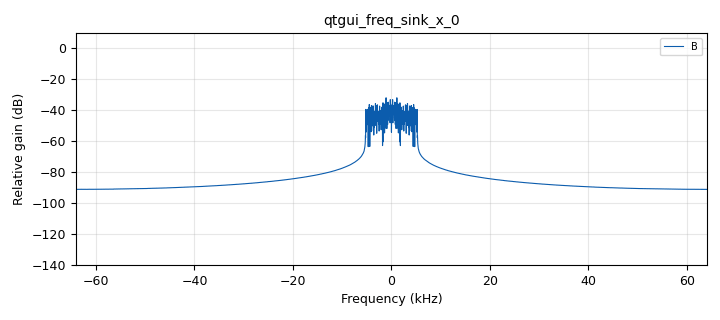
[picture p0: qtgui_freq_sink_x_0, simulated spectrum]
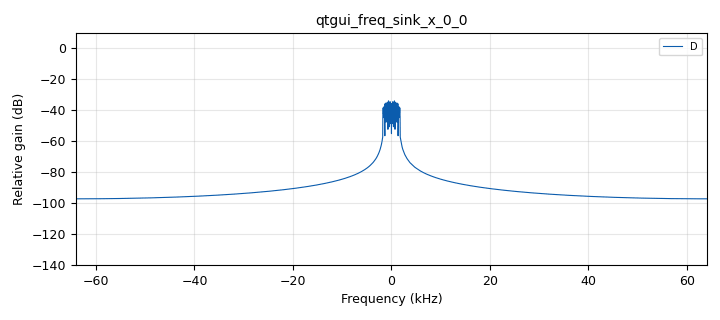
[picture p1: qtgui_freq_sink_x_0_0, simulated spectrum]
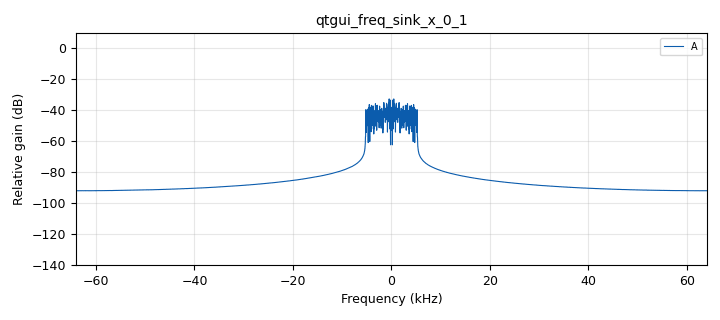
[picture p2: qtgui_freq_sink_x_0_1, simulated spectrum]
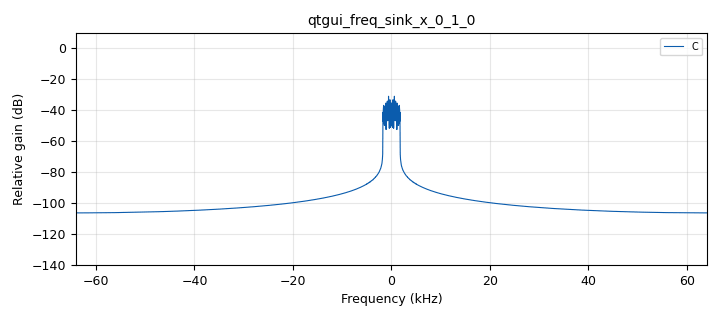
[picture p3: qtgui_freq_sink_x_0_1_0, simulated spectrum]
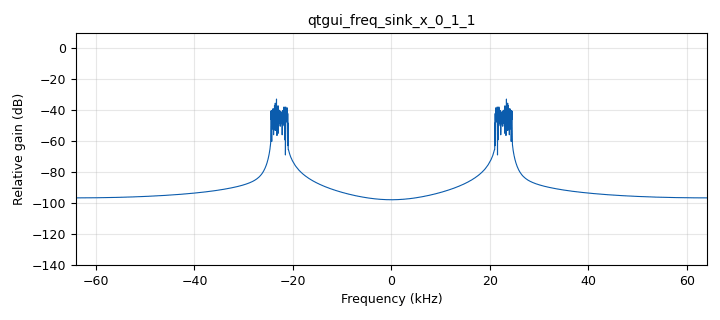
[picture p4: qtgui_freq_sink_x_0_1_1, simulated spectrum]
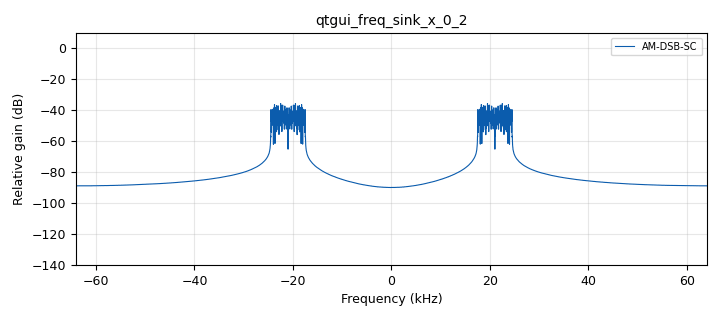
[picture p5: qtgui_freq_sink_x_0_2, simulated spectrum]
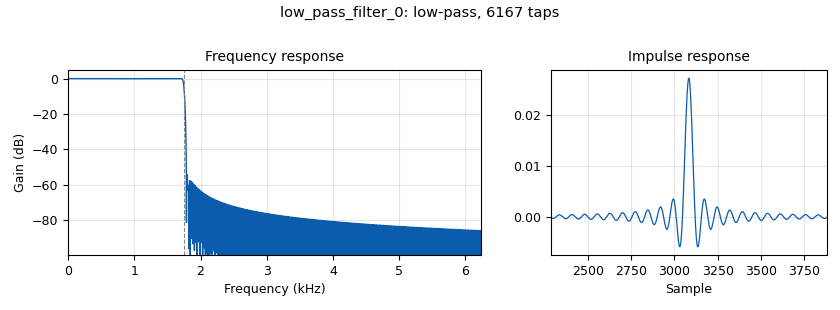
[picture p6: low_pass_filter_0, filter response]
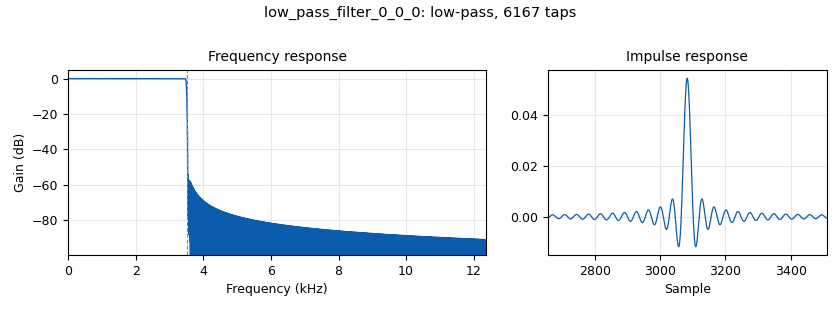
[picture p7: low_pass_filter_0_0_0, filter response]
<?xml version='1.0' encoding='utf-8'?>
<?grc format='1' created='3.7.9'?>
<flow_graph>
<block>
<key>options</key>
<param><key>id</key><value>top_block</value></param>
<param><key>category</key><value>Custom</value></param>
<param><key>generate_options</key><value>qt_gui</value></param>
</block>
<block>
<key>variable</key>
<param><key>id</key><value>Bm</value></param>
<param><key>value</key><value>3500</value></param>
</block>
<block>
<key>variable</key>
<param><key>id</key><value>f_c</value></param>
<param><key>value</key><value>21000</value></param>
</block>
<block>
<key>variable</key>
<param><key>id</key><value>samp_rate</value></param>
<param><key>value</key><value>128000</value></param>
</block>
<block>
<key>qtgui_tab_widget</key>
<param><key>id</key><value>aba</value></param>
<param><key>label0</key><value>A</value></param>
<param><key>label1</key><value>B</value></param>
<param><key>label2</key><value>C</value></param>
<param><key>label3</key><value>D</value></param>
<param><key>label4</key><value>E</value></param>
<param><key>label5</key><value>AM-DSB-SC</value></param>
<param><key>num_tabs</key><value>6</value></param>
</block>
<block>
<key>analog_noise_source_x</key>
<param><key>id</key><value>analog_noise_source_x_0</value></param>
<param><key>amp</key><value>1</value></param>
<param><key>noise_type</key><value>analog.GR_GAUSSIAN</value></param>
<param><key>type</key><value>float</value></param>
<param><key>seed</key><value>0</value></param>
</block>
<block>
<key>analog_sig_source_x</key>
<param><key>id</key><value>analog_sig_source_x_0</value></param>
<param><key>amp</key><value>1</value></param>
<param><key>freq</key><value>Bm/2</value></param>
<param><key>offset</key><value>0</value></param>
<param><key>type</key><value>float</value></param>
<param><key>samp_rate</key><value>samp_rate</value></param>
<param><key>waveform</key><value>analog.GR_COS_WAVE</value></param>
</block>
<block>
<key>analog_sig_source_x</key>
<param><key>id</key><value>analog_sig_source_x_0_0</value></param>
<param><key>amp</key><value>1</value></param>
<param><key>freq</key><value>f_c + Bm/2</value></param>
<param><key>offset</key><value>0</value></param>
<param><key>type</key><value>float</value></param>
<param><key>samp_rate</key><value>samp_rate</value></param>
<param><key>waveform</key><value>analog.GR_COS_WAVE</value></param>
</block>
<block>
<key>analog_sig_source_x</key>
<param><key>id</key><value>analog_sig_source_x_0_0_0</value></param>
<param><key>amp</key><value>1</value></param>
<param><key>freq</key><value>f_c </value></param>
<param><key>offset</key><value>0</value></param>
<param><key>type</key><value>float</value></param>
<param><key>samp_rate</key><value>samp_rate</value></param>
<param><key>waveform</key><value>analog.GR_COS_WAVE</value></param>
</block>
<block>
<key>blocks_add_xx</key>
<param><key>id</key><value>blocks_add_xx_0</value></param>
<param><key>type</key><value>float</value></param>
</block>
<block>
<key>blocks_delay</key>
<param><key>id</key><value>blocks_delay_0</value></param>
<param><key>delay</key><value>55</value></param>
<param><key>type</key><value>float</value></param>
</block>
<block>
<key>blocks_delay</key>
<param><key>id</key><value>blocks_delay_0_0</value></param>
<param><key>delay</key><value>55</value></param>
<param><key>type</key><value>float</value></param>
</block>
<block>
<key>blocks_multiply_xx</key>
<param><key>id</key><value>blocks_multiply_xx_0</value></param>
<param><key>type</key><value>float</value></param>
</block>
<block>
<key>blocks_multiply_xx</key>
<param><key>id</key><value>blocks_multiply_xx_0_0</value></param>
<param><key>type</key><value>float</value></param>
</block>
<block>
<key>blocks_multiply_xx</key>
<param><key>id</key><value>blocks_multiply_xx_0_0_0</value></param>
<param><key>type</key><value>float</value></param>
</block>
<block>
<key>blocks_multiply_xx</key>
<param><key>id</key><value>blocks_multiply_xx_0_1</value></param>
<param><key>type</key><value>float</value></param>
</block>
<block>
<key>blocks_multiply_xx</key>
<param><key>id</key><value>blocks_multiply_xx_0_1_0</value></param>
<param><key>type</key><value>float</value></param>
</block>
<block>
<key>low_pass_filter</key>
<param><key>id</key><value>low_pass_filter_0</value></param>
<param><key>cutoff_freq</key><value>Bm/2</value></param>
<param><key>decim</key><value>1</value></param>
<param><key>type</key><value>fir_filter_fff</value></param>
<param><key>gain</key><value>1</value></param>
<param><key>samp_rate</key><value>samp_rate</value></param>
<param><key>width</key><value>50</value></param>
<param><key>win</key><value>firdes.WIN_HAMMING</value></param>
</block>
<block>
<key>low_pass_filter</key>
<param><key>id</key><value>low_pass_filter_0_0</value></param>
<param><key>cutoff_freq</key><value>Bm/2</value></param>
<param><key>decim</key><value>1</value></param>
<param><key>type</key><value>fir_filter_fff</value></param>
<param><key>gain</key><value>1</value></param>
<param><key>samp_rate</key><value>samp_rate</value></param>
<param><key>width</key><value>50</value></param>
<param><key>win</key><value>firdes.WIN_HAMMING</value></param>
</block>
<block>
<key>low_pass_filter</key>
<param><key>id</key><value>low_pass_filter_0_0_0</value></param>
<param><key>cutoff_freq</key><value>Bm</value></param>
<param><key>decim</key><value>1</value></param>
<param><key>type</key><value>fir_filter_fff</value></param>
<param><key>gain</key><value>1</value></param>
<param><key>samp_rate</key><value>samp_rate</value></param>
<param><key>width</key><value>50</value></param>
<param><key>win</key><value>firdes.WIN_HAMMING</value></param>
</block>
<block>
<key>qtgui_freq_sink_x</key>
<param><key>id</key><value>qtgui_freq_sink_x_0</value></param>
<param><key>bw</key><value>samp_rate</value></param>
<param><key>fc</key><value>0</value></param>
<param><key>ctrlpanel</key><value>True</value></param>
<param><key>fftsize</key><value>4096</value></param>
<param><key>gui_hint</key><value>aba@1</value></param>
<param><key>grid</key><value>True</value></param>
<param><key>color1</key><value>"red"</value></param>
<param><key>label1</key><value>B</value></param>
<param><key>showports</key><value>True</value></param>
<param><key>type</key><value>float</value></param>
<param><key>wintype</key><value>firdes.WIN_RECTANGULAR</value></param>
</block>
<block>
<key>qtgui_freq_sink_x</key>
<param><key>id</key><value>qtgui_freq_sink_x_0_0</value></param>
<param><key>bw</key><value>samp_rate</value></param>
<param><key>fc</key><value>0</value></param>
<param><key>ctrlpanel</key><value>True</value></param>
<param><key>fftsize</key><value>4096</value></param>
<param><key>gui_hint</key><value>aba@3</value></param>
<param><key>grid</key><value>True</value></param>
<param><key>color1</key><value>"red"</value></param>
<param><key>label1</key><value>D</value></param>
<param><key>showports</key><value>True</value></param>
<param><key>type</key><value>float</value></param>
<param><key>wintype</key><value>firdes.WIN_RECTANGULAR</value></param>
</block>
<block>
<key>qtgui_freq_sink_x</key>
<param><key>id</key><value>qtgui_freq_sink_x_0_1</value></param>
<param><key>bw</key><value>samp_rate</value></param>
<param><key>fc</key><value>0</value></param>
<param><key>ctrlpanel</key><value>True</value></param>
<param><key>fftsize</key><value>4096</value></param>
<param><key>gui_hint</key><value>aba@0</value></param>
<param><key>grid</key><value>True</value></param>
<param><key>color1</key><value>"dark blue"</value></param>
<param><key>label1</key><value>A</value></param>
<param><key>showports</key><value>True</value></param>
<param><key>type</key><value>float</value></param>
<param><key>wintype</key><value>firdes.WIN_RECTANGULAR</value></param>
</block>
<block>
<key>qtgui_freq_sink_x</key>
<param><key>id</key><value>qtgui_freq_sink_x_0_1_0</value></param>
<param><key>bw</key><value>samp_rate</value></param>
<param><key>fc</key><value>0</value></param>
<param><key>ctrlpanel</key><value>True</value></param>
<param><key>fftsize</key><value>4096</value></param>
<param><key>gui_hint</key><value>aba@2</value></param>
<param><key>grid</key><value>True</value></param>
<param><key>color1</key><value>"dark blue"</value></param>
<param><key>label1</key><value>C</value></param>
<param><key>showports</key><value>True</value></param>
<param><key>type</key><value>float</value></param>
<param><key>wintype</key><value>firdes.WIN_RECTANGULAR</value></param>
</block>
<block>
<key>qtgui_freq_sink_x</key>
<param><key>id</key><value>qtgui_freq_sink_x_0_1_1</value></param>
<param><key>bw</key><value>samp_rate</value></param>
<param><key>fc</key><value>0</value></param>
<param><key>ctrlpanel</key><value>True</value></param>
<param><key>fftsize</key><value>4096</value></param>
<param><key>gui_hint</key><value>aba@4</value></param>
<param><key>grid</key><value>True</value></param>
<param><key>color1</key><value>"green"</value></param>
<param><key>showports</key><value>True</value></param>
<param><key>type</key><value>float</value></param>
<param><key>wintype</key><value>firdes.WIN_RECTANGULAR</value></param>
</block>
<block>
<key>qtgui_freq_sink_x</key>
<param><key>id</key><value>qtgui_freq_sink_x_0_2</value></param>
<param><key>bw</key><value>samp_rate</value></param>
<param><key>fc</key><value>0</value></param>
<param><key>ctrlpanel</key><value>True</value></param>
<param><key>fftsize</key><value>4096</value></param>
<param><key>gui_hint</key><value>aba@5</value></param>
<param><key>grid</key><value>True</value></param>
<param><key>color1</key><value>"green"</value></param>
<param><key>label1</key><value>AM-DSB-SC</value></param>
<param><key>showports</key><value>True</value></param>
<param><key>type</key><value>float</value></param>
<param><key>wintype</key><value>firdes.WIN_RECTANGULAR</value></param>
</block>
<connection><source_block_id>analog_noise_source_x_0</source_block_id><sink_block_id>low_pass_filter_0_0_0</sink_block_id><source_key>0</source_key><sink_key>0</sink_key></connection>
<connection><source_block_id>analog_sig_source_x_0</source_block_id><sink_block_id>blocks_delay_0</sink_block_id><source_key>0</source_key><sink_key>0</sink_key></connection>
<connection><source_block_id>analog_sig_source_x_0</source_block_id><sink_block_id>blocks_multiply_xx_0</sink_block_id><source_key>0</source_key><sink_key>1</sink_key></connection>
<connection><source_block_id>analog_sig_source_x_0_0</source_block_id><sink_block_id>blocks_delay_0_0</sink_block_id><source_key>0</source_key><sink_key>0</sink_key></connection>
<connection><source_block_id>analog_sig_source_x_0_0</source_block_id><sink_block_id>blocks_multiply_xx_0_1</sink_block_id><source_key>0</source_key><sink_key>1</sink_key></connection>
<connection><source_block_id>analog_sig_source_x_0_0_0</source_block_id><sink_block_id>blocks_multiply_xx_0_1_0</sink_block_id><source_key>0</source_key><sink_key>1</sink_key></connection>
<connection><source_block_id>blocks_add_xx_0</source_block_id><sink_block_id>qtgui_freq_sink_x_0_1_1</sink_block_id><source_key>0</source_key><sink_key>0</sink_key></connection>
<connection><source_block_id>blocks_delay_0</source_block_id><sink_block_id>blocks_multiply_xx_0_0</sink_block_id><source_key>0</source_key><sink_key>0</sink_key></connection>
<connection><source_block_id>blocks_delay_0_0</source_block_id><sink_block_id>blocks_multiply_xx_0_0_0</sink_block_id><source_key>0</source_key><sink_key>0</sink_key></connection>
<connection><source_block_id>blocks_multiply_xx_0</source_block_id><sink_block_id>low_pass_filter_0</sink_block_id><source_key>0</source_key><sink_key>0</sink_key></connection>
<connection><source_block_id>blocks_multiply_xx_0</source_block_id><sink_block_id>qtgui_freq_sink_x_0_1</sink_block_id><source_key>0</source_key><sink_key>0</sink_key></connection>
<connection><source_block_id>blocks_multiply_xx_0_0</source_block_id><sink_block_id>low_pass_filter_0_0</sink_block_id><source_key>0</source_key><sink_key>0</sink_key></connection>
<connection><source_block_id>blocks_multiply_xx_0_0</source_block_id><sink_block_id>qtgui_freq_sink_x_0</sink_block_id><source_key>0</source_key><sink_key>0</sink_key></connection>
<connection><source_block_id>blocks_multiply_xx_0_0_0</source_block_id><sink_block_id>blocks_add_xx_0</sink_block_id><source_key>0</source_key><sink_key>1</sink_key></connection>
<connection><source_block_id>blocks_multiply_xx_0_1</source_block_id><sink_block_id>blocks_add_xx_0</sink_block_id><source_key>0</source_key><sink_key>0</sink_key></connection>
<connection><source_block_id>blocks_multiply_xx_0_1_0</source_block_id><sink_block_id>qtgui_freq_sink_x_0_2</sink_block_id><source_key>0</source_key><sink_key>0</sink_key></connection>
<connection><source_block_id>low_pass_filter_0</source_block_id><sink_block_id>blocks_multiply_xx_0_1</sink_block_id><source_key>0</source_key><sink_key>0</sink_key></connection>
<connection><source_block_id>low_pass_filter_0</source_block_id><sink_block_id>qtgui_freq_sink_x_0_1_0</sink_block_id><source_key>0</source_key><sink_key>0</sink_key></connection>
<connection><source_block_id>low_pass_filter_0_0</source_block_id><sink_block_id>blocks_multiply_xx_0_0_0</sink_block_id><source_key>0</source_key><sink_key>1</sink_key></connection>
<connection><source_block_id>low_pass_filter_0_0</source_block_id><sink_block_id>qtgui_freq_sink_x_0_0</sink_block_id><source_key>0</source_key><sink_key>0</sink_key></connection>
<connection><source_block_id>low_pass_filter_0_0_0</source_block_id><sink_block_id>blocks_multiply_xx_0</sink_block_id><source_key>0</source_key><sink_key>0</sink_key></connection>
<connection><source_block_id>low_pass_filter_0_0_0</source_block_id><sink_block_id>blocks_multiply_xx_0_0</sink_block_id><source_key>0</source_key><sink_key>1</sink_key></connection>
<connection><source_block_id>low_pass_filter_0_0_0</source_block_id><sink_block_id>blocks_multiply_xx_0_1_0</sink_block_id><source_key>0</source_key><sink_key>0</sink_key></connection>
</flow_graph>
